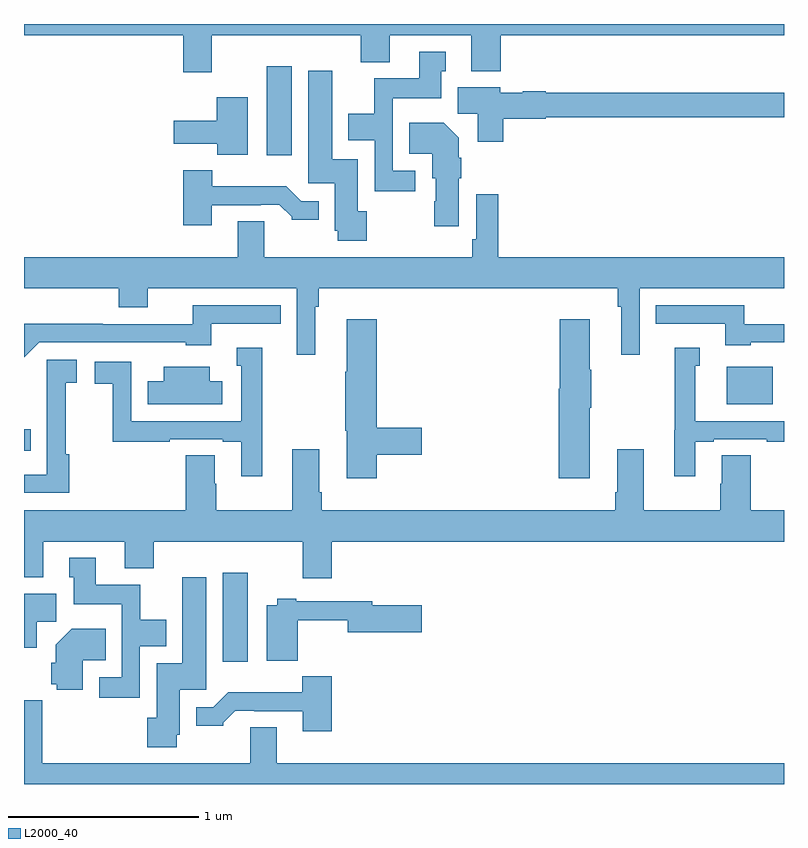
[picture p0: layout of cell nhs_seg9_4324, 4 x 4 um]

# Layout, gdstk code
import gdstk
lib = gdstk.Library(unit=1e-6, precision=1e-09)
def R(c, l, rs):  # rectangles x0, y0, x1, y1
    for r in rs: c.add(gdstk.rectangle(r[:2], r[2:], *l))
def P(c, l, *ps):  # polygons
    for p in ps: c.add(gdstk.Polygon(p, *l))
L2000_40 = (2000, 40)

nhs_seg9_4324 = lib.new_cell('nhs_seg9_4324')
R(nhs_seg9_4324, L2000_40, [(360.047,1173.144,360.178,1173.613), (359,1174.254,359.036,1174.367), (362.699,1174.499,362.941,1174.696), (360.278,1175.808,360.409,1176.277)])
P(nhs_seg9_4324, L2000_40, [(359.989,1176.44),(360.773,1176.44),(360.773,1176.299),(360.925,1176.299),(360.925,1176.44),(361.355,1176.44),(361.355,1176.251),(361.508,1176.251),(361.508,1176.44),(363,1176.44),(363,1176.5),(359,1176.5),(359,1176.44),(359.837,1176.44),(359.837,1176.246),(359.989,1176.246)],
  [(361.06,1175.727),(360.942,1175.727),(360.942,1176.11),(361.195,1176.11),(361.195,1176.252),(361.219,1176.252),(361.219,1176.355),(361.079,1176.355),(361.079,1176.214),(360.844,1176.214),(360.844,1176.028),(360.707,1176.028),(360.707,1175.888),(360.846,1175.888),(360.846,1175.619),(361.06,1175.619)],
  [(360.804,1175.514),(360.757,1175.514),(360.757,1175.788),(360.622,1175.788),(360.622,1176.253),(360.497,1176.253),(360.497,1175.661),(360.635,1175.661),(360.635,1175.412),(360.652,1175.412),(360.652,1175.358),(360.804,1175.358)],
  [(361.523,1176.002),(361.746,1176.002),(361.746,1176.01),(363,1176.01),(363,1176.139),(361.746,1176.139),(361.746,1176.147),(361.626,1176.147),(361.626,1176.139),(361.506,1176.139),(361.506,1176.166),(361.283,1176.166),(361.283,1176.028),(361.388,1176.028),(361.388,1175.88),(361.523,1175.88)],
  [(360.178,1176.115),(360.014,1176.115),(360.014,1175.992),(359.787,1175.992),(359.787,1175.87),(360.016,1175.87),(360.016,1175.813),(360.178,1175.813)],
  [(361.288,1175.688),(361.301,1175.688),(361.301,1175.795),(361.288,1175.795),(361.288,1175.902),(361.21,1175.98),(361.027,1175.98),(361.027,1175.816),(361.148,1175.816),(361.148,1175.688),(361.166,1175.688),(361.166,1175.568),(361.159,1175.568),(361.159,1175.436),(361.288,1175.436)],
  [(359.989,1175.547),(360.245,1175.547),(360.245,1175.55),(360.344,1175.55),(360.408,1175.486),(360.408,1175.471),(360.55,1175.471),(360.55,1175.568),(360.459,1175.568),(360.381,1175.647),(359.992,1175.647),(359.992,1175.731),(359.837,1175.731),(359.837,1175.442),(359.989,1175.442)],
  [(360.532,1175.012),(360.551,1175.012),(360.551,1175.108),(362.125,1175.108),(362.125,1175.012),(362.144,1175.012),(362.144,1174.758),(362.241,1174.758),(362.241,1175.108),(363,1175.108),(363,1175.272),(361.496,1175.272),(361.496,1175.605),(361.38,1175.605),(361.38,1175.368),(361.36,1175.368),(361.36,1175.272),(360.265,1175.272),(360.265,1175.462),(360.125,1175.462),(360.125,1175.272),(359,1175.272),(359,1175.108),(359.498,1175.108),(359.498,1175.009),(359.65,1175.009),(359.65,1175.108),(360.435,1175.108),(360.435,1174.758),(360.532,1174.758)],
  [(362.826,1174.824),(363,1174.824),(363,1174.92),(362.79,1174.92),(362.79,1175.019),(362.326,1175.019),(362.326,1174.923),(362.69,1174.923),(362.69,1174.808),(362.826,1174.808)],
  [(359.079,1174.824),(359.85,1174.824),(359.85,1174.808),(359.986,1174.808),(359.986,1174.923),(360.35,1174.923),(360.35,1175.019),(359.887,1175.019),(359.887,1174.92),(359.414,1174.92),(359.414,1174.922),(359,1174.922),(359,1174.745)],
  [(360.857,1174.234),(361.093,1174.234),(361.093,1174.376),(360.857,1174.376),(360.857,1174.945),(360.698,1174.945),(360.698,1174.67),(360.691,1174.67),(360.691,1174.359),(360.698,1174.359),(360.698,1174.11),(360.857,1174.11)],
  [(361.978,1174.481),(361.986,1174.481),(361.986,1174.681),(361.978,1174.681),(361.978,1174.945),(361.82,1174.945),(361.82,1174.581),(361.814,1174.581),(361.814,1174.11),(361.978,1174.11)],
  [(362.533,1174.302),(362.629,1174.302),(362.629,1174.314),(362.908,1174.314),(362.908,1174.302),(363,1174.302),(363,1174.41),(362.533,1174.41),(362.533,1174.701),(362.557,1174.701),(362.557,1174.795),(362.424,1174.795),(362.424,1174.363),(362.423,1174.363),(362.423,1174.119),(362.533,1174.119)],
  [(360.253,1174.795),(360.119,1174.795),(360.119,1174.701),(360.144,1174.701),(360.144,1174.41),(359.565,1174.41),(359.565,1174.722),(359.373,1174.722),(359.373,1174.606),(359.467,1174.606),(359.467,1174.302),(359.768,1174.302),(359.768,1174.314),(360.047,1174.314),(360.047,1174.302),(360.143,1174.302),(360.143,1174.119),(360.253,1174.119)],
  [(359.237,1174.235),(359.22,1174.235),(359.22,1174.611),(359.278,1174.611),(359.278,1174.732),(359.12,1174.732),(359.12,1174.456),(359.121,1174.456),(359.121,1174.128),(359,1174.128),(359,1174.032),(359.237,1174.032)],
  [(360.043,1174.621),(359.977,1174.621),(359.977,1174.696),(359.735,1174.696),(359.735,1174.621),(359.65,1174.621),(359.65,1174.499),(360.043,1174.499)],
  [(360.62,1173.776),(363,1173.776),(363,1173.94),(362.825,1173.94),(362.825,1174.229),(362.672,1174.229),(362.672,1174.079),(362.665,1174.079),(362.665,1173.94),(362.263,1173.94),(362.263,1174.261),(362.123,1174.261),(362.123,1174.036),(362.111,1174.036),(362.111,1173.94),(360.566,1173.94),(360.566,1174.036),(360.553,1174.036),(360.553,1174.261),(360.413,1174.261),(360.413,1173.94),(360.012,1173.94),(360.012,1174.079),(360.004,1174.079),(360.004,1174.229),(359.852,1174.229),(359.852,1173.94),(359,1173.94),(359,1173.587),(359.101,1173.587),(359.101,1173.776),(359.531,1173.776),(359.531,1173.635),(359.684,1173.635),(359.684,1173.776),(360.467,1173.776),(360.467,1173.582),(360.62,1173.582)],
  [(359.61,1173.224),(359.749,1173.224),(359.749,1173.364),(359.613,1173.364),(359.613,1173.55),(359.377,1173.55),(359.377,1173.691),(359.237,1173.691),(359.237,1173.588),(359.261,1173.588),(359.261,1173.446),(359.514,1173.446),(359.514,1173.063),(359.397,1173.063),(359.397,1172.955),(359.61,1172.955)],
  [(359.805,1172.76),(359.821,1172.76),(359.821,1172.997),(359.959,1172.997),(359.959,1173.589),(359.834,1173.589),(359.834,1173.136),(359.699,1173.136),(359.699,1172.85),(359.648,1172.85),(359.648,1172.694),(359.805,1172.694)],
  [(359.068,1173.355),(359.17,1173.355),(359.17,1173.502),(359,1173.502),(359,1173.216),(359.068,1173.216)],
  [(360.44,1173.361),(360.704,1173.361),(360.704,1173.299),(361.093,1173.299),(361.093,1173.441),(360.832,1173.441),(360.832,1173.462),(360.433,1173.462),(360.433,1173.475),(360.333,1173.475),(360.333,1173.442),(360.278,1173.442),(360.278,1173.149),(360.44,1173.149)],
  [(359.308,1173.152),(359.429,1173.152),(359.429,1173.316),(359.252,1173.316),(359.168,1173.232),(359.168,1173.138),(359.143,1173.138),(359.143,1173.024),(359.172,1173.024),(359.172,1172.995),(359.308,1172.995)],
  [(360.62,1173.067),(360.465,1173.067),(360.465,1172.983),(360.076,1172.983),(359.997,1172.904),(359.906,1172.904),(359.906,1172.807),(360.048,1172.807),(360.048,1172.822),(360.112,1172.886),(360.211,1172.886),(360.211,1172.883),(360.467,1172.883),(360.467,1172.778),(360.62,1172.778)],
  [(363,1172.608),(360.331,1172.608),(360.331,1172.798),(360.191,1172.798),(360.191,1172.608),(359.096,1172.608),(359.096,1172.941),(359,1172.941),(359,1172.5),(363,1172.5)])

lib.write_gds('nhs_seg9_4324.gds')
